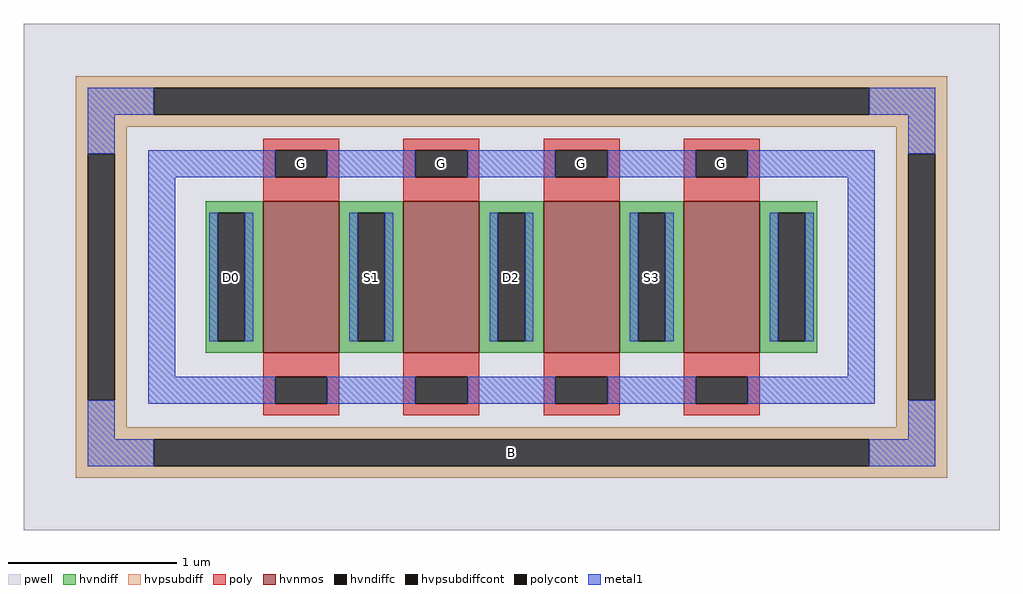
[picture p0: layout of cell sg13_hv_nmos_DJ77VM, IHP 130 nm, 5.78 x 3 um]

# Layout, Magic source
magic
tech ihp-sg13cmos5l
magscale 1 2
<< pwell >>
rect -578 -300 578 300
<< hvnmos >>
rect -294 -90 -204 90
rect -128 -90 -38 90
rect 38 -90 128 90
rect 204 -90 294 90
<< hvndiff >>
rect -362 76 -294 90
rect -362 -76 -348 76
rect -316 -76 -294 76
rect -362 -90 -294 -76
rect -204 76 -128 90
rect -204 -76 -182 76
rect -150 -76 -128 76
rect -204 -90 -128 -76
rect -38 76 38 90
rect -38 -76 -16 76
rect 16 -76 38 76
rect -38 -90 38 -76
rect 128 76 204 90
rect 128 -76 150 76
rect 182 -76 204 76
rect 128 -90 204 -76
rect 294 76 362 90
rect 294 -76 316 76
rect 348 -76 362 76
rect 294 -90 362 -76
<< hvndiffc >>
rect -348 -76 -316 76
rect -182 -76 -150 76
rect -16 -76 16 76
rect 150 -76 182 76
rect 316 -76 348 76
<< hvpsubdiff >>
rect -516 224 516 238
rect -516 192 -424 224
rect 424 192 516 224
rect -516 178 516 192
rect -516 146 -456 178
rect -516 -146 -502 146
rect -470 -146 -456 146
rect 456 146 516 178
rect -516 -178 -456 -146
rect 456 -146 470 146
rect 502 -146 516 146
rect 456 -178 516 -146
rect -516 -192 516 -178
rect -516 -224 -424 -192
rect 424 -224 516 -192
rect -516 -238 516 -224
<< hvpsubdiffcont >>
rect -424 192 424 224
rect -502 -146 -470 146
rect 470 -146 502 146
rect -424 -224 424 -192
<< poly >>
rect -294 150 -204 164
rect -294 118 -280 150
rect -218 118 -204 150
rect -294 90 -204 118
rect -128 150 -38 164
rect -128 118 -114 150
rect -52 118 -38 150
rect -128 90 -38 118
rect 38 150 128 164
rect 38 118 52 150
rect 114 118 128 150
rect 38 90 128 118
rect 204 150 294 164
rect 204 118 218 150
rect 280 118 294 150
rect 204 90 294 118
rect -294 -118 -204 -90
rect -294 -150 -280 -118
rect -218 -150 -204 -118
rect -294 -164 -204 -150
rect -128 -118 -38 -90
rect -128 -150 -114 -118
rect -52 -150 -38 -118
rect -128 -164 -38 -150
rect 38 -118 128 -90
rect 38 -150 52 -118
rect 114 -150 128 -118
rect 38 -164 128 -150
rect 204 -118 294 -90
rect 204 -150 218 -118
rect 280 -150 294 -118
rect 204 -164 294 -150
<< polycont >>
rect -280 118 -218 150
rect -114 118 -52 150
rect 52 118 114 150
rect 218 118 280 150
rect -280 -150 -218 -118
rect -114 -150 -52 -118
rect 52 -150 114 -118
rect 218 -150 280 -118
<< metal1 >>
rect -502 192 -424 224
rect 424 192 502 224
rect -502 146 -470 192
rect -502 -192 -470 -146
rect -430 118 -280 150
rect -218 118 -114 150
rect -52 118 52 150
rect 114 118 218 150
rect 280 118 430 150
rect -430 -118 -398 118
rect -358 -76 -348 76
rect -316 -76 -306 76
rect -192 -76 -182 76
rect -150 -76 -140 76
rect -26 -76 -16 76
rect 16 -76 26 76
rect 140 -76 150 76
rect 182 -76 192 76
rect 306 -76 316 76
rect 348 -76 358 76
rect 398 -118 430 118
rect -430 -150 -280 -118
rect -218 -150 -114 -118
rect -52 -150 52 -118
rect 114 -150 218 -118
rect 280 -150 430 -118
rect 470 146 502 192
rect 470 -192 502 -146
rect -502 -224 -424 -192
rect 424 -224 502 -192
<< labels >>
rlabel hvpsubdiffcont 0 -208 0 -208 0 B
port 1 nsew
rlabel hvndiffc -332 0 -332 0 0 D0
port 2 nsew
rlabel polycont -249 134 -249 134 0 G
port 3 nsew
rlabel hvndiffc -166 0 -166 0 0 S1
port 4 nsew
rlabel polycont -83 134 -83 134 0 G
port 3 nsew
rlabel hvndiffc 0 0 0 0 0 D2
port 5 nsew
rlabel polycont 83 134 83 134 0 G
port 3 nsew
rlabel hvndiffc 166 0 166 0 0 S3
port 6 nsew
rlabel polycont 249 134 249 134 0 G
port 3 nsew
<< properties >>
string FIXED_BBOX -486 -208 486 208
string gencell sg13_hv_nmos
string library sg13cmos5l
string parameters w 0.9 l 0.45 m 1 ng 4 diffcov 100 polycov 100 guard 1 glc 1 grc 1 gtc 1 gbc 1 tbcov 100 rlcov 100 topc 1 botc 1 poverlap 0 doverlap 1 lmin 0.45 wmin 0.15 class mosfet compatible {sg13_lv_nmos sg13_hv_nmos} full_metal 1 conn_gates 1 gate_ring 1 doports 1 viasrc 0 viadrn 0 viagate 0 ccols 1 viagb 0 viagr 0 viagl 0 viagt 0
<< end >>
